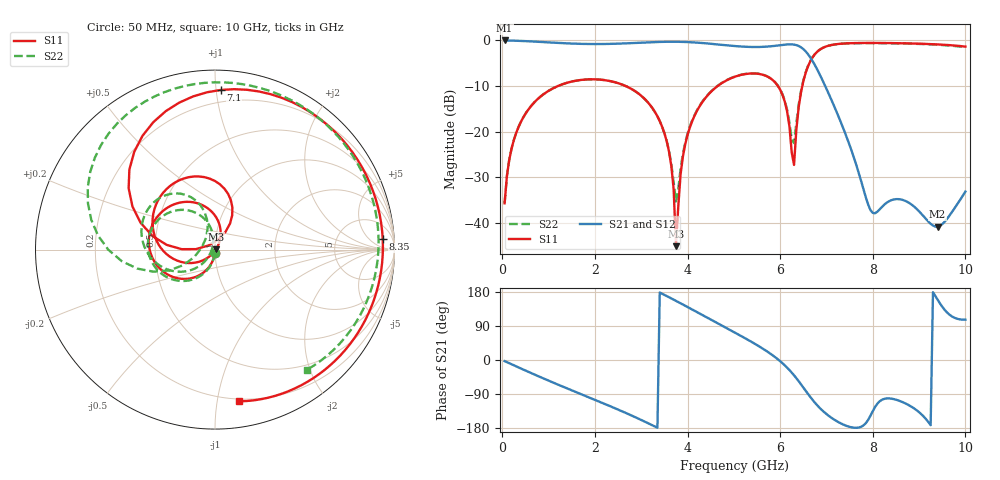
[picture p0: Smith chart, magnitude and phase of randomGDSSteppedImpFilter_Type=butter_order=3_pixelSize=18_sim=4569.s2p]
! freq	dB(S11)	phase(S11)	dB(S12)	phase(S12)
!  dB(S21)	phase(S21)	dB(S22)	phase(S22)
!S-par simulation data
#  GHz  S  DB  R 50
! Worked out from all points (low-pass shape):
!   200 points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, 50 MHz to 10 GHz, reference 50 ohm
!   highest |S21| = 0.00 dB at 50 MHz (marker M1); lowest = -40.8 dB at 9.4 GHz (marker M2)
!   |S21| within 3 dB of the highest: start of sweep to 6.601 GHz
!   lowest |S11| = -45.0 dB at 3.75 GHz (marker M3), VSWR 1.01, Z = 50.5 + j0.175 ohm
!   |S11| at or under -10 dB: start of sweep to 1.197 GHz; 2.668 GHz to 4.648 GHz (1.98 GHz wide, 54.1 % of centre); 5.954 GHz to 6.478 GHz (524.9 MHz wide, 8.44 % of centre)
!   |S22| runs from -35.6 to -0.6 dB; largest |S21 - S12| = 0
!   S11 on the Smith chart (normalised r, x): 50 MHz: 1.00, -0.03; 7.1 GHz: 0.12, +1.03; 8.35 GHz: 16, +15; 10 GHz: 0.18, -1.16
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0.05  -35.65 -92.9  -0.00 -2.8  -0.00 -2.8  -35.64 -92.6
0.2  -23.68 -102.0  -0.04 -11.2  -0.04 -11.2  -23.68 -101.1
0.5  -16.06 -119.4  -0.15 -27.8  -0.15 -27.8  -16.06 -117.2
1.75  -8.59 172.7  -0.76 -92.6  -0.76 -92.6  -8.59 -178.9
2.55  -9.52 129.6  -0.69 -133.4  -0.69 -133.4  -9.51 143.1
3.4  -17.65 77.8  -0.32 178.1  -0.32 178.1  -17.65 102.2
3.65  -27.47 58.1  -0.28 162.5  -0.28 162.5  -27.05 102.8
3.7  -32.52 51.0  -0.28 159.3  -0.28 159.3  -31.06 114.8
3.75  -45.04 18.0  -0.29 156.1  -0.29 156.1  -35.27 153.6
3.85  -29.30 -124.8  -0.30 149.7  -0.30 149.7  -28.12 -137.6
4.05  -19.05 -142.6  -0.38 136.6  -0.38 136.6  -18.85 -132.5
5.05  -7.85 146.5  -1.25 70.5  -1.25 70.5  -7.81 172.9
5.95  -9.94 76.7  -1.11 2.0  -1.11 2.0  -9.88 114.5
6.15  -15.52 60.0  -0.87 -20.0  -0.87 -20.0  -15.17 104.9
6.3  -27.26 148.2  -0.91 -40.3  -0.91 -40.3  -22.48 172.4
6.45  -11.37 174.5  -1.50 -64.1  -1.50 -64.1  -11.07 -155.5
6.7  -3.70 136.9  -4.51 -105.2  -4.51 -105.2  -3.66 173.1
7.1  -1.01 87.9  -12.84 -151.9  -12.84 -151.9  -1.02 128.0
7.95  -0.55 26.1  -37.15 -147.1  -37.15 -147.1  -0.58 68.5
8.35  -0.57 3.5  -35.21 -101.4  -35.21 -101.4  -0.61 45.1
9.4  -0.87 -50.0  -40.78 159.2  -40.78 159.2  -0.94 -15.6
10  -1.35 -80.9  -33.09 106.4  -33.09 106.4  -1.49 -52.7
